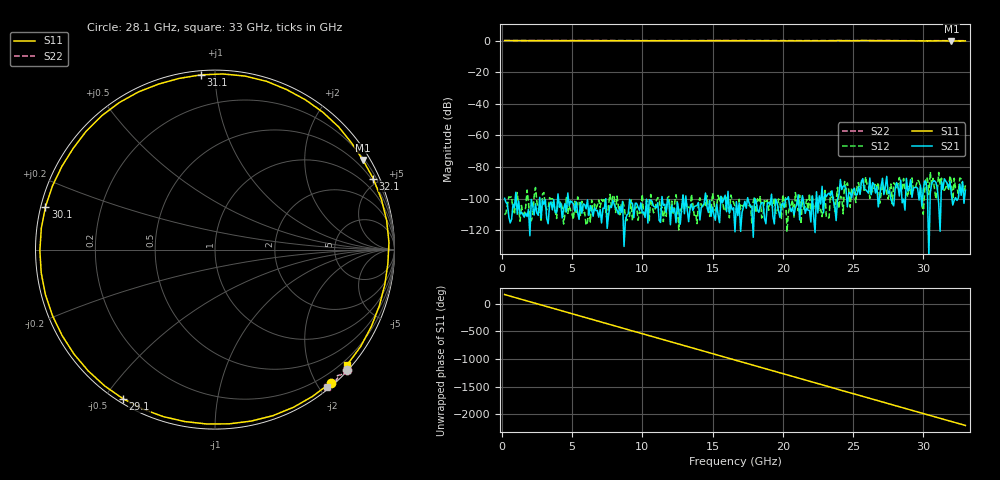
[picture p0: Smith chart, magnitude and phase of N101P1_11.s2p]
# GHZ S RI R 50
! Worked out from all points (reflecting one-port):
!   329 points, 200 MHz to 33 GHz, reference 50 ohm
!   lowest |S11| = -0.3 dB at 32 GHz (marker M1), VSWR 53.94, Z = 12.8 + j178 ohm
!   phase of S11 starts at 165 deg and turns -2367 deg over the sweep
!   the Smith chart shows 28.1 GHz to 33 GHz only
!   S11 on the Smith chart (normalised r, x): 28.1 GHz: 0.05, -2.19; 29.1 GHz: 0.02, -0.56; 30.1 GHz: 0.01, +0.12; 31.1 GHz: 0.02, +0.92; 32.1 GHz: 0.39, +4.63; 33 GHz: 0.10, -2.66
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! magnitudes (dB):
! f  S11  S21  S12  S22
! 200 MHz  0.0  -99.7  -110.2  0.0
! 5.7 GHz  -0.1  -109.1  -101.5  0.0
! 11.2 GHz  -0.1  -113.7  -99.8  -0.1
! 16.6 GHz  -0.1  -120.8  -104.9  0.0
! 22.1 GHz  -0.2  -98.2  -97.6  0.0
! 23.4 GHz  -0.2  -98.1  -95.4  0.0
! 23.6 GHz  -0.1  -101.1  -99.1  0.0
! 23.9 GHz  0.0  -100.0  -92.8  0.1
! 24.3 GHz  -0.2  -92.0  -109.6  0.0
! 24.6 GHz  -0.1  -105.1  -90.0  0.0
! 25.1 GHz  -0.2  -93.4  -96.2  0.0
! 25.6 GHz  0.0  -88.8  -89.7  0.0
! 26.9 GHz  -0.1  -98.1  -102.8  0.0
! 27.6 GHz  -0.1  -95.1  -94.8  0.0
! 28.1 GHz  -0.2  -89.8  -93.5  -0.1
! 29.1 GHz  -0.2  -87.8  -97.1  -0.1
! 30.1 GHz  -0.2  -88.8  -95.3  -0.2
! 31.1 GHz  -0.2  -103.0  -83.4  -0.1
! 31.4 GHz  -0.2  -94.2  -94.6  -0.1
! 32 GHz  -0.3  -96.6  -88.4  -0.1
! 32.1 GHz  -0.3  -104.0  -103.3  0.0
! 33 GHz  -0.2  -94.6  -91.3  -0.1
